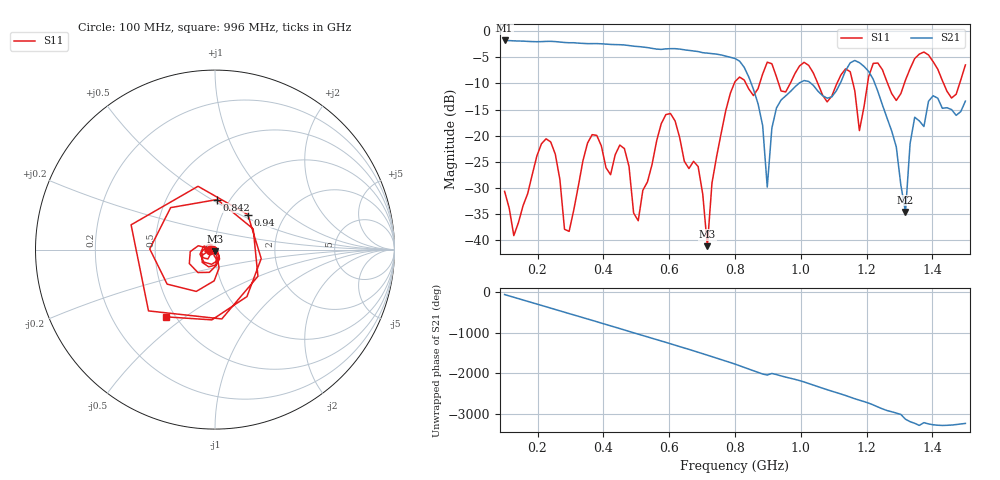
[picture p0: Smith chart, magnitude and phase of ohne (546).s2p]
! NanoVNA-App
! Date: 2025-09-25 14:25:03
! Start: 100MHz Stop: 1,5GHz Points: 101
! S-Parameter data: F S11 S21 S12 S22
# Hz S RI R 50
!  Frequency  S11_Real  S11_Imag  S21_Real  S21_Imag  S12_Real  S12_Imag  S22_Real  S22_Imag
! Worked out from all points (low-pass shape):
!   101 points, 100 MHz to 1.5 GHz, reference 50 ohm
!   highest |S21| = -1.79 dB at 100 MHz (marker M1); lowest = -34.6 dB at 1.318 GHz (marker M2)
!   |S21| within 3 dB of the highest: start of sweep to 772.3 MHz
!   lowest |S11| = -41.1 dB at 716 MHz (marker M3), VSWR 1.02, Z = 49.9 - j0.866 ohm
!   |S11| at or under -10 dB: start of sweep to 797.8 MHz; 833.2 MHz to 875 MHz (41.85 MHz wide, 4.9 % of centre); 1.052 GHz to 1.11 GHz (58.16 MHz wide, 5.38 % of centre) (the widest 3 of 7)
!   S12 and S22 are empty: the file has one direction only
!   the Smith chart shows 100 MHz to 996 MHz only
!   S11 on the Smith chart (normalised r, x): 100 MHz: 0.94, -0.01; 842 MHz: 0.88, +0.53; 940 MHz: 1.31, +0.55; 996 MHz: 0.45, -0.42
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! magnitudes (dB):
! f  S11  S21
! 100 MHz  -30.6  -1.8
! 128 MHz  -39.1  -1.9
! 226 MHz  -20.6  -2.0
! 296 MHz  -38.3  -2.2
! 338 MHz  -24.8  -2.4
! 464 MHz  -22.5  -2.7
! 506 MHz  -36.3  -3.0
! 576 MHz  -17.7  -3.5
! 688 MHz  -25.9  -3.9
! 716 MHz  -41.1  -4.2
! 800 MHz  -9.7  -5.2
! 842 MHz  -11.1  -8.8
! 898 MHz  -6.0  -29.8
! 940 MHz  -11.5  -13.2
! 996 MHz  -6.7  -9.9
! 1.038 GHz  -8.0  -10.4
! 1.178 GHz  -19.0  -6.0
! 1.22 GHz  -6.2  -9.2
! 1.276 GHz  -11.9  -19.1
! 1.318 GHz  -9.4  -34.6
! 1.346 GHz  -5.3  -16.5
! 1.5 GHz  -6.5  -13.4
